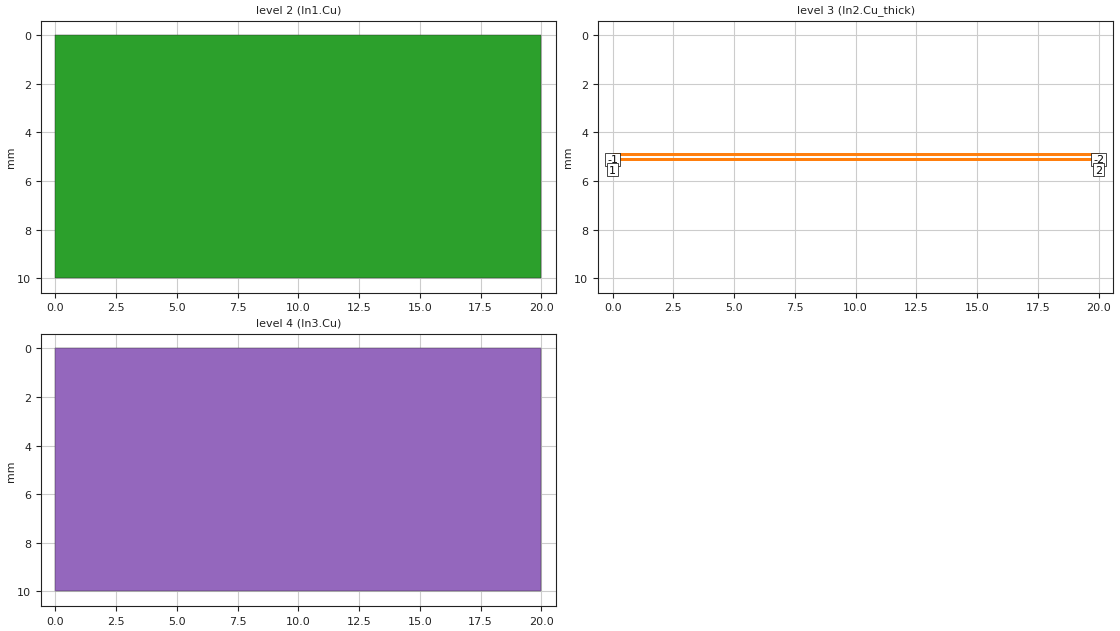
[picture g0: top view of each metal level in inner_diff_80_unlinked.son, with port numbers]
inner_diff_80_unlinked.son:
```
FTYP SONPROJ 19 ! Sonnet Project File
VER 18.52
HEADER
LIC antikernel2.1.51176
DAT 02/26/2022 12:08:13
BUILT_BY_CREATED xgeom 18.52 11/18/2021 20:28:07
BUILT_BY_SAVED sonnet 18.52
MDATE 02/26/2022 12:08:13
HDATE 02/26/2022 12:08:13
END HEADER
DIM
ANG DEG
CAP PF
CON /OH
FREQ GHZ
IND NH
LNG MM
RES OH
END DIM
CONTROL
VARSWP
OPTIONS  -dj
SPEED 0
CACHE_ABS 2
Q_ACC N
END CONTROL
GEO
TMET "Free Space" 0 FREESPACE 376.7303136 0 0 0
BMET "Free Space" 0 FREESPACE 376.7303136 0 0 0
MET "Copper_1oz_thin" 1 NOR 58000000 0.5 0.035 
MET "Copper_1oz_thick" 2 TMM 58000000 0.5 0.035 2
MET "Copper_1oz_thick_down" 3 TMM 58000000 0.5 0.035 2 CDVY TDWN
MET "Copper_0.5oz_thin" 4 NOR 58000000 0.5 0.017 
MET "Copper_0.5oz_thick" 12 TMM 58000000 0.5 0.017 2
MET "Copper_0.5oz_thick_down" 5 TMM 58000000 0.5 0.017 2 CDVY TDWN
BOX 12 20 10 4000 2000 20 0
      5 1 1 0 0 0 0 "Air"
      0.04 3.5 1 0.025 0 0 0 "Soldermask"
      0.075 3.39 1 0.004 0 0 0 "Panasonic_R-5775(G)"
      0.068 3.56 1 0.004 0 0 0 "Panasonic_R-5670(G)"
      0.13 3.39 1 0.004 0 0 0 "Panasonic_R-5775(G)"
      0.092 3.56 1 0.004 0 0 0 "Panasonic_R-5670(G)"
      0.609 3.39 1 0.004 0 0 0 "Panasonic_R-5775(G)"
      0.092 3.56 1 0.004 0 0 0 "Panasonic_R-5670(G)"
      0.13 3.39 1 0.004 0 0 0 "Panasonic_R-5775(G)"
      0.068 3.56 1 0.004 0 0 0 "Panasonic_R-5670(G)"
      0.075 3.39 1 0.004 0 0 0 "Panasonic_R-5775(G)"
      0.04 3.5 1 0.025 0 0 0 "Soldermask"
      5 1 1 0 0 0 0 "Air"
TECHLAY METAL F.Cu_thin <UNSPECIFIED> -1 -65534 CAD F.Cu_thin drawing 
1 0 0 N 244 1 1 100 100 0 0 0 Y
END
END
TECHLAY METAL F.Cu_thick <UNSPECIFIED> -2 -65534 CAD F.Cu_thick drawing 
1 0 1 N 246 1 1 100 100 0 0 0 Y
END
END
TECHLAY VIA Via1 <UNSPECIFIED> -13 -65534 CAD Via1 drawing 
VIA POLYGON
1 0 -1 N 248 1 1 100 100 0 0 0 Y
TOLEVEL 10 RING NOCOVERS
END
END
TECHLAY METAL In1.Cu <UNSPECIFIED> -3 -65534 CAD In1.Cu drawing 
2 0 0 N 251 1 1 100 100 0 0 0 Y
END
END
TECHLAY METAL In2.Cu_thin <UNSPECIFIED> -4 -65534 CAD In2.Cu drawing 
3 0 3 N 254 1 1 100 100 0 0 0 Y
END
END
TECHLAY METAL In2.Cu_thick <UNSPECIFIED> -5 -65534 CAD In2.Cu_thick drawing 
3 0 4 N 256 1 1 100 100 0 0 0 Y
END
END
TECHLAY METAL In3.Cu <UNSPECIFIED> -6 -65534 CAD In3.Cu drawing 
4 0 0 N 263 1 1 100 100 0 0 0 Y
END
END
TECHLAY METAL In4.Cu <UNSPECIFIED> -7 -65534 CAD In4.Cu drawing 
7 0 0 N 268 1 1 100 100 0 0 0 Y
END
END
TECHLAY METAL In5.Cu_thin <UNSPECIFIED> -8 -65534 CAD In5.Cu drawing 
8 0 3 N 271 1 1 100 100 0 0 0 Y
END
END
TECHLAY METAL In5.Cu_thick <UNSPECIFIED> -9 -65534 CAD In5.Cu_thick drawing 
8 0 5 N 273 1 1 100 100 0 0 0 Y
END
END
TECHLAY METAL In6.Cu <UNSPECIFIED> -10 -65534 CAD In6.Cu drawing 
9 0 0 N 276 1 1 100 100 0 0 0 Y
END
END
TECHLAY METAL B.Cu_thin <UNSPECIFIED> -11 -65534 CAD B.Cu_thin drawing 
10 0 0 N 279 1 1 100 100 0 0 0 Y
END
END
TECHLAY METAL B.Cu_thick <UNSPECIFIED> -12 -65534 CAD B.Cu_thick drawing 
10 0 2 N 281 1 1 100 100 0 0 0 Y
END
END
VALVAR WIDTH LNG 0.14 "Dim. Param."
VALVAR CORE_ER NONE "table1(\"core_er.csv\",FREQ)" "Variable set in material file"
VALVAR CORE_DF NONE "table1(\"core_df.csv\",FREQ)" "Variable set in material file"
VALVAR PREPREG_DF NONE "table1(\"prepreg_df.csv\",FREQ)" "Variable set in material file"
VALVAR PREPREG_ER NONE "table1(\"prepreg_er.csv\",FREQ)" "Variable set in material file"
VALVAR SPACE LNG 0.08 "Dim. Param."
DIM STD YDIR -1
POS -0.176990271 -0.09526466207
NOM 0.12
REF1 POLY 104 1
3
REF2 POLY 104 1
0
END
DIM STD YDIR -1
POS -0.04634483199 -0.07576465746
NOM 0.12
REF1 POLY 133 1
3
REF2 POLY 133 1
0
END
LORGN 0 10 U 
POR1 BOX
POLY 133 1
3
-1 80 0 0 0 0 5.1 
POR1 BOX
POLY 133 1
1
-2 80 0 0 0 20 5.1 
POR1 BOX
POLY 104 1
3
1 80 0 0 0 0 4.9 
POR1 BOX
POLY 104 1
1
2 80 0 0 0 20 4.9 
NUM 4
2 5 0 N 103 1 1 100 100 0 0 0 Y
TLAYNAM In1.Cu INH
0 0
20 0
20 10
0 10
0 0
END
3 5 4 N 133 1 1 100 100 0 0 0 Y
TLAYNAM In2.Cu_thick INH
0 5.04
20 5.04
20 5.16
0 5.16
0 5.04
END
3 5 4 N 104 1 1 100 100 0 0 0 Y
TLAYNAM In2.Cu_thick INH
0 4.84
20 4.84
20 4.96
0 4.96
0 4.84
END
4 5 0 N 228 1 1 100 100 0 0 0 Y
TLAYNAM In3.Cu INH
0 0
20 0
20 10
0 10
0 0
END
END GEO
OPT
MAX 100
END OPT
VARSWP
ENABLED Y
FREQ Y AY ABS_ENTRY 0.001 16.0 -1 300 
VAR SPACE Y 0.1 0.14 0.02
END
END VARSWP
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```
